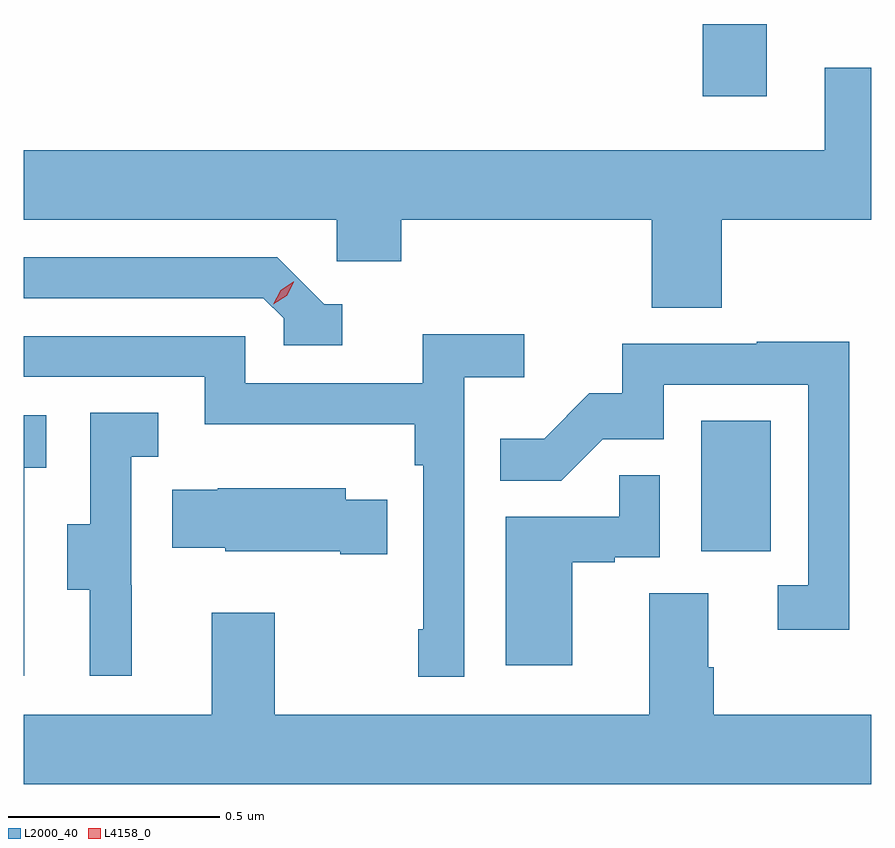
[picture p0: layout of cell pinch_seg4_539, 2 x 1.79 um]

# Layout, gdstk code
import gdstk
lib = gdstk.Library(unit=1e-6, precision=1e-09)
def R(c, l, rs):  # rectangles x0, y0, x1, y1
    for r in rs: c.add(gdstk.rectangle(r[:2], r[2:], *l))
def P(c, l, *ps):  # polygons
    for p in ps: c.add(gdstk.Polygon(p, *l))
L2000_40 = (2000, 40)
L4158_0 = (4158, 0)

pinch_seg4_539 = lib.new_cell('pinch_seg4_539')
R(pinch_seg4_539, L2000_40, [(1117.964,772.062,1118.128,772.369), (1117.967,773.136,1118.119,773.306)])
P(pinch_seg4_539, L2000_40, [(1118.012,772.844),(1118.365,772.844),(1118.365,773.203),(1118.255,773.203),(1118.255,773.008),(1116.365,773.008),(1116.365,772.844),(1117.104,772.844),(1117.104,772.746),(1117.256,772.746),(1117.256,772.844),(1117.847,772.844),(1117.847,772.636),(1118.012,772.636)],
  [(1117.117,772.644),(1117.074,772.644),(1116.963,772.755),(1116.365,772.755),(1116.365,772.659),(1116.93,772.659),(1116.978,772.611),(1116.978,772.548),(1117.117,772.548)],
  [(1117.404,772.472),(1117.546,772.472),(1117.546,772.574),(1117.307,772.574),(1117.307,772.458),(1116.888,772.458),(1116.888,772.569),(1116.365,772.569),(1116.365,772.473),(1116.792,772.473),(1116.792,772.361),(1117.288,772.361),(1117.288,772.265),(1117.308,772.265),(1117.308,771.877),(1117.296,771.877),(1117.296,771.765),(1117.404,771.765)],
  [(1118.313,772.556),(1118.095,772.556),(1118.095,772.551),(1117.777,772.551),(1117.777,772.434),(1117.7,772.434),(1117.593,772.327),(1117.489,772.327),(1117.489,772.228),(1117.633,772.228),(1117.731,772.326),(1117.875,772.326),(1117.875,772.455),(1118.217,772.455),(1118.217,771.981),(1118.145,771.981),(1118.145,771.876),(1118.313,771.876)],
  [(1116.62,771.981),(1116.618,771.981),(1116.618,772.285),(1116.682,772.285),(1116.682,772.388),(1116.522,772.388),(1116.522,772.125),(1116.467,772.125),(1116.467,771.97),(1116.521,771.97),(1116.521,771.768),(1116.62,771.768)],
  [(1116.366,772.259),(1116.418,772.259),(1116.418,772.383),(1116.365,772.383),(1116.365,771.768),(1116.366,771.768)],
  [(1117.66,772.035),(1117.76,772.035),(1117.76,772.047),(1117.866,772.047),(1117.866,772.241),(1117.771,772.241),(1117.771,772.143),(1117.502,772.143),(1117.502,771.792),(1117.66,771.792)],
  [(1117.223,772.183),(1117.125,772.183),(1117.125,772.21),(1116.823,772.21),(1116.823,772.207),(1116.715,772.207),(1116.715,772.07),(1116.84,772.07),(1116.84,772.061),(1117.112,772.061),(1117.112,772.054),(1117.223,772.054)],
  [(1118.365,771.676),(1117.994,771.676),(1117.994,771.788),(1117.981,771.788),(1117.981,771.962),(1117.841,771.962),(1117.841,771.676),(1116.957,771.676),(1116.957,771.916),(1116.809,771.916),(1116.809,771.676),(1116.365,771.676),(1116.365,771.512),(1118.365,771.512)])
P(pinch_seg4_539, L4158_0, [(1116.954,772.645),(1116.954,772.645),(1116.971,772.677),(1117.001,772.697),(1117.002,772.697),(1117.002,772.696),(1116.985,772.664),(1116.954,772.645)])

lib.write_gds('pinch_seg4_539.gds')
